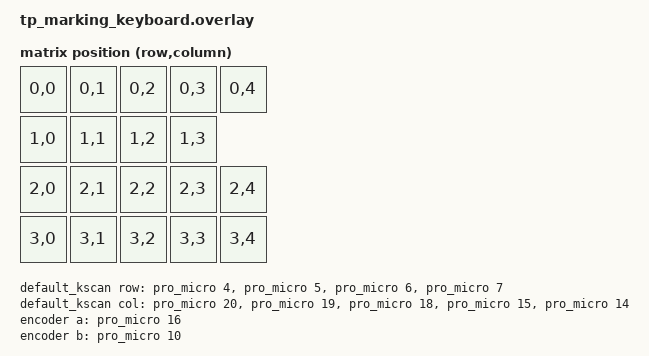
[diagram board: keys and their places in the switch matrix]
#include <dt-bindings/zmk/matrix_transform.h>
#include <dt-bindings/led/led.h>

&pinctrl {
    spi3_default: spi3_default {
        group1 {
            psels = <NRF_PSEL(SPIM_MOSI, 0, 6)>;
        };
    };

    spi3_sleep: spi3_sleep {
        group1 {
            psels = <NRF_PSEL(SPIM_MOSI, 0, 6)>;
            low-power-enable;
        };
    };
};

&spi3 {
    compatible = "nordic,nrf-spim";
    status = "okay";

    pinctrl-0 = <&spi3_default>;
    pinctrl-1 = <&spi3_sleep>;
    pinctrl-names = "default", "sleep";

    led_strip: ws2812@0 {
        compatible = "worldsemi,ws2812-spi";

        /* SPI */
        reg = <0>; /* ignored, but necessary for SPI bindings */
        spi-max-frequency = <4000000>;

        /* WS2812 */
        chain-length = <10>; /* arbitrary; change at will */
        spi-one-frame = <0x70>;
        spi-zero-frame = <0x40>;

        color-mapping = <LED_COLOR_ID_GREEN LED_COLOR_ID_RED LED_COLOR_ID_BLUE>;
    };
};
/ {
  chosen {
    zmk,kscan = &default_kscan;
    zmk,matrix_transform = &default_transform;
    zmk,underglow = &led_strip;
  };

  default_kscan: kscan {
    compatible = "zmk,kscan-gpio-matrix";
    label = "default_kscan";
    diode-direction = "col2row";

    row-gpios = <&pro_micro 4 (GPIO_ACTIVE_HIGH | GPIO_PULL_DOWN)>,
                <&pro_micro 5 (GPIO_ACTIVE_HIGH | GPIO_PULL_DOWN)>,
                <&pro_micro 6 (GPIO_ACTIVE_HIGH | GPIO_PULL_DOWN)>,
                <&pro_micro 7 (GPIO_ACTIVE_HIGH | GPIO_PULL_DOWN)>;

    col-gpios = <&pro_micro 20 (GPIO_ACTIVE_HIGH | GPIO_PULL_DOWN)>,
                <&pro_micro 19 (GPIO_ACTIVE_HIGH | GPIO_PULL_DOWN)>,
                <&pro_micro 18 (GPIO_ACTIVE_HIGH | GPIO_PULL_DOWN)>,
                <&pro_micro 15 (GPIO_ACTIVE_HIGH | GPIO_PULL_DOWN)>,
                <&pro_micro 14 (GPIO_ACTIVE_HIGH | GPIO_PULL_DOWN)>;
  };

  default_transform: matrix_transform {
    compatible = "zmk,matrix-transform";
    rows = <4>;
    columns = <5>;
    
    map = <
      RC(0,0) RC(0,1) RC(0,2) RC(0,3) RC(0,4)
      RC(1,0) RC(1,1) RC(1,2) RC(1,3)
      RC(2,0) RC(2,1) RC(2,2) RC(2,3) RC(2,4)
      RC(3,0) RC(3,1) RC(3,2) RC(3,3) RC(3,4)
    >;
    /* Note: RC 0,4 is the button of the rotary encoder */
  };
  custom_gpios {
    compatible = "gpio-leds";
    status = "okay";
    
    led_power: led_power {
      gpios = <&gpio0 20 GPIO_ACTIVE_HIGH>;
    };
  };
  
  encoder: encoder {
    compatible = "alps,ec11";
    a-gpios = <&pro_micro 16 (GPIO_ACTIVE_HIGH | GPIO_PULL_UP)>;
    b-gpios = <&pro_micro 10 (GPIO_ACTIVE_HIGH | GPIO_PULL_UP)>;
    steps = <80>;
    status = "okay";
  };

  sensors: sensors {
    compatible = "zmk,keymap-sensors";
    sensors = <&encoder>;
    triggers-per-rotation = <20>;
  };
};

